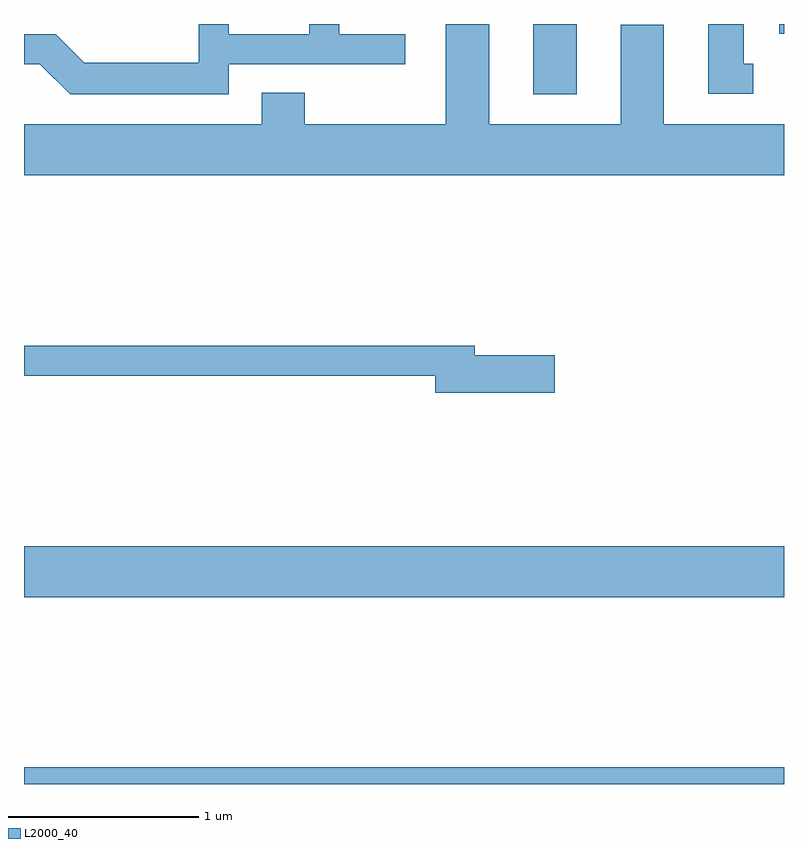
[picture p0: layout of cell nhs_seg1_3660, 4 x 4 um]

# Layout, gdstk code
import gdstk
lib = gdstk.Library(unit=1e-6, precision=1e-09)
def R(c, l, rs):  # rectangles x0, y0, x1, y1
    for r in rs: c.add(gdstk.rectangle(r[:2], r[2:], *l))
def P(c, l, *ps):  # polygons
    for p in ps: c.add(gdstk.Polygon(p, *l))
L2000_40 = (2000, 40)

nhs_seg1_3660 = lib.new_cell('nhs_seg1_3660')
R(nhs_seg1_3660, L2000_40, [(295.611,889.712,299.611,889.799), (295.611,890.696,299.611,890.964), (298.291,893.341,298.519,893.712), (299.586,893.661,299.611,893.712)])
P(nhs_seg1_3660, L2000_40, [(296.689,893.501),(297.618,893.501),(297.618,893.659),(297.269,893.659),(297.269,893.712),(297.111,893.712),(297.111,893.659),(296.689,893.659),(296.689,893.712),(296.531,893.712),(296.531,893.509),(295.927,893.509),(295.777,893.659),(295.611,893.659),(295.611,893.501),(295.694,893.501),(295.854,893.341),(296.689,893.341)],
  [(299.611,893.184),(298.979,893.184),(298.979,893.709),(298.751,893.709),(298.751,893.184),(298.059,893.184),(298.059,893.712),(297.831,893.712),(297.831,893.184),(297.089,893.184),(297.089,893.349),(296.861,893.349),(296.861,893.184),(295.611,893.184),(295.611,892.916),(299.611,892.916)],
  [(299.448,893.504),(299.399,893.504),(299.399,893.712),(299.211,893.712),(299.211,893.346),(299.448,893.346)],
  [(298.404,891.969),(297.984,891.969),(297.984,892.019),(295.611,892.019),(295.611,891.861),(297.776,891.861),(297.776,891.771),(298.404,891.771)])

lib.write_gds('nhs_seg1_3660.gds')
